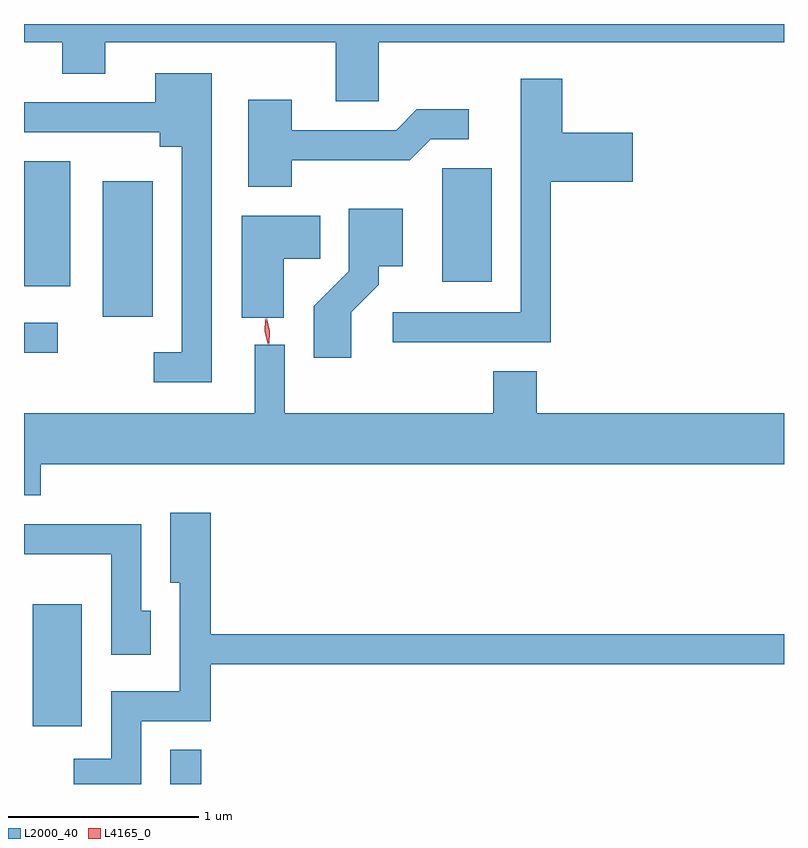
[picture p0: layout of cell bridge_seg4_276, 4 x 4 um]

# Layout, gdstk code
import gdstk
lib = gdstk.Library(unit=1e-6, precision=1e-09)
def R(c, l, rs):  # rectangles x0, y0, x1, y1
    for r in rs: c.add(gdstk.rectangle(r[:2], r[2:], *l))
def P(c, l, *ps):  # polygons
    for p in ps: c.add(gdstk.Polygon(p, *l))
L2000_40 = (2000, 40)
L4165_0 = (4165, 0)

bridge_seg4_276 = lib.new_cell('bridge_seg4_276')
R(bridge_seg4_276, L2000_40, [(559.381,1386.292,559.544,1386.473), (558.656,1386.596,558.914,1387.239), (558.611,1388.561,558.788,1388.719), (559.026,1388.751,559.289,1389.464), (558.611,1388.911,558.854,1389.569), (560.811,1388.936,561.074,1389.534)])
P(bridge_seg4_276, L2000_40, [(560.479,1390.196),(562.611,1390.196),(562.611,1390.292),(558.611,1390.292),(558.611,1390.196),(558.811,1390.196),(558.811,1390.031),(559.039,1390.031),(559.039,1390.196),(560.251,1390.196),(560.251,1389.886),(560.479,1389.886)],
  [(559.599,1390.034),(559.301,1390.034),(559.301,1389.879),(558.611,1389.879),(558.611,1389.721),(559.326,1389.721),(559.326,1389.646),(559.441,1389.646),(559.441,1388.564),(559.293,1388.564),(559.293,1388.406),(559.599,1388.406)],
  [(561.384,1389.461),(561.814,1389.461),(561.814,1389.719),(561.444,1389.719),(561.444,1390.004),(561.226,1390.004),(561.226,1388.774),(560.553,1388.774),(560.553,1388.616),(561.384,1388.616)],
  [(560.019,1389.576),(560.642,1389.576),(560.752,1389.686),(560.953,1389.686),(560.953,1389.844),(560.679,1389.844),(560.569,1389.734),(560.019,1389.734),(560.019,1389.894),(559.791,1389.894),(559.791,1389.436),(560.019,1389.436)],
  [(560.334,1388.774),(560.479,1388.919),(560.479,1389.016),(560.604,1389.016),(560.604,1389.319),(560.321,1389.319),(560.321,1388.992),(560.136,1388.807),(560.136,1388.536),(560.334,1388.536)],
  [(559.979,1389.056),(560.169,1389.056),(560.169,1389.284),(559.756,1389.284),(559.756,1388.746),(559.979,1388.746)],
  [(558.699,1387.976),(562.611,1387.976),(562.611,1388.244),(561.309,1388.244),(561.309,1388.464),(561.081,1388.464),(561.081,1388.244),(559.984,1388.244),(559.984,1388.603),(559.826,1388.603),(559.826,1388.244),(558.611,1388.244),(558.611,1387.811),(558.699,1387.811)],
  [(559.229,1386.621),(559.594,1386.621),(559.594,1386.921),(562.611,1386.921),(562.611,1387.079),(559.594,1387.079),(559.594,1387.719),(559.381,1387.719),(559.381,1387.351),(559.431,1387.351),(559.431,1386.779),(559.071,1386.779),(559.071,1386.424),(558.873,1386.424),(558.873,1386.292),(559.229,1386.292)],
  [(559.279,1387.204),(559.229,1387.204),(559.229,1387.659),(558.611,1387.659),(558.611,1387.501),(559.071,1387.501),(559.071,1386.971),(559.279,1386.971)])
P(bridge_seg4_276, L4165_0, [(559.895,1388.608),(559.878,1388.673),(559.88,1388.74),(559.881,1388.74),(559.881,1388.74),(559.898,1388.675),(559.896,1388.608),(559.896,1388.608)],
  [(559.901,1388.605),(559.901,1388.606),(559.885,1388.673),(559.888,1388.743),(559.888,1388.743),(559.888,1388.743),(559.904,1388.675),(559.902,1388.606)])

lib.write_gds('bridge_seg4_276.gds')
